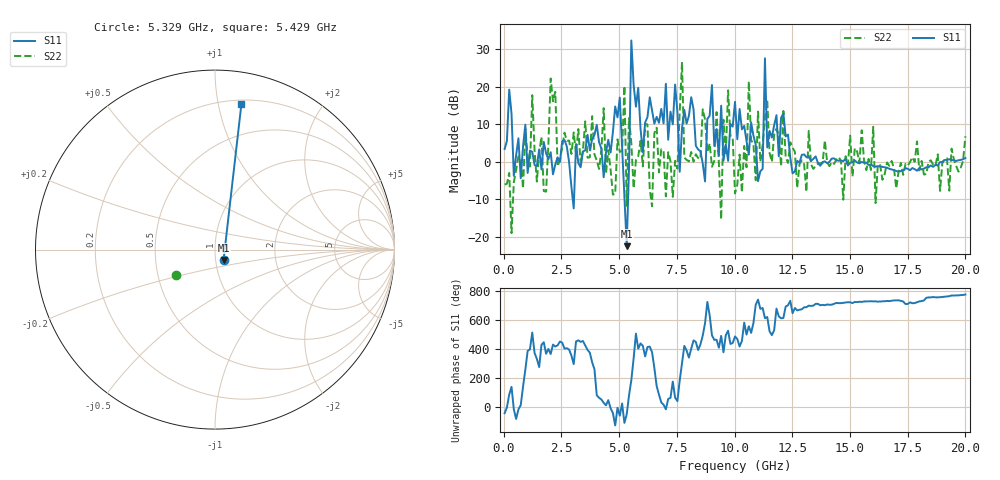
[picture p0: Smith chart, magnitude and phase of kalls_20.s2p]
! Micran, Research & Production Company
! Date: 2025-04-14 15:17:43
! Frequency	S11	S21	S12	S22
# Hz S dB R 50
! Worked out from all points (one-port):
!   201 points, 40 MHz to 20 GHz, reference 50 ohm
!   lowest |S11| = -22.5 dB at 5.329 GHz (marker M1), VSWR 1.16, Z = 54.6 - j6.41 ohm
!   |S11| at or under -10 dB: 2.992 GHz to 3.048 GHz (55.71 MHz wide, 1.84 % of centre); 5.235 GHz to 5.389 GHz (154.6 MHz wide, 2.91 % of centre)
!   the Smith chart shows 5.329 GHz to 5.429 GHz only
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4e7  3.44 -42.6  -200.00 0.0  -200.00 0.0  -6.04 -1.5
3.4332e9  2.80 96.0  -200.00 0.0  -200.00 0.0  3.18 27.1
5.3294e9  -22.46 -50.8  -200.00 0.0  -200.00 0.0  -11.72 -147.1
5.4292e9  -1.69 79.7  -200.00 0.0  -200.00 0.0  11.68 -145.9
5.529e9  32.40 -174.5  -200.00 0.0  -200.00 0.0  5.05 25.6
5.6288e9  20.55 -24.7  -200.00 0.0  -200.00 0.0  -7.03 74.6
5.7286e9  14.75 147.0  -200.00 0.0  -200.00 0.0  0.51 -17.8
5.8284e9  19.78 42.9  -200.00 0.0  -200.00 0.0  1.50 -102.5
6.7266e9  10.43 85.8  -200.00 0.0  -200.00 0.0  -2.83 -111.4
7.026e9  20.85 -15.9  -200.00 0.0  -200.00 0.0  -9.17 -97.8
7.4252e9  20.64 65.2  -200.00 0.0  -200.00 0.0  0.31 64.8
7.6248e9  -2.62 -176.5  -200.00 0.0  -200.00 0.0  13.32 174.4
7.7246e9  8.98 -58.0  -200.00 0.0  -200.00 0.0  26.64 -93.4
7.8244e9  13.88 62.2  -200.00 0.0  -200.00 0.0  1.16 -112.9
1.002e10  16.04 127.6  -200.00 0.0  -200.00 0.0  -8.40 89.1
1.06188e10  1.95 -162.1  -200.00 0.0  -200.00 0.0  21.49 105.1
1.12176e10  -1.83 -35.8  -200.00 0.0  -200.00 0.0  4.57 -171.2
1.13174e10  27.66 -106.2  -200.00 0.0  -200.00 0.0  11.63 154.3
1.1517e10  8.29 163.2  -200.00 0.0  -200.00 0.0  2.39 91.8
1.34132e10  0.81 -19.4  -200.00 0.0  -200.00 0.0  -1.86 -48.1
1.67066e10  -1.84 11.6  -200.00 0.0  -200.00 0.0  -1.05 19.9
2e10  1.05 57.3  -200.00 0.0  -200.00 0.0  6.84 21.6
